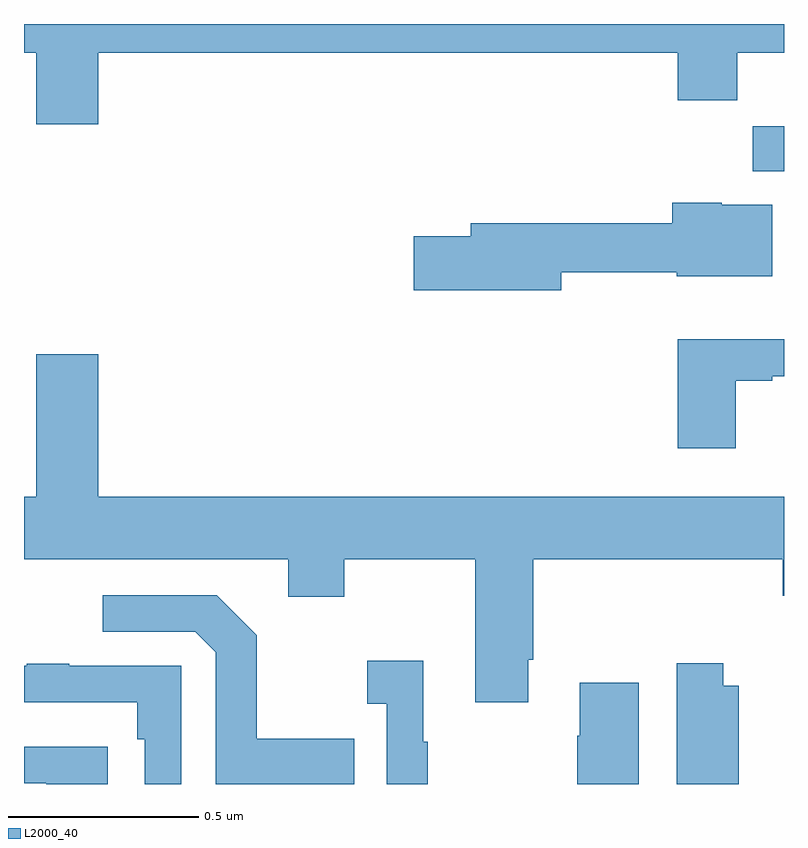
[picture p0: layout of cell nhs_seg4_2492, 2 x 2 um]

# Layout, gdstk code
import gdstk
lib = gdstk.Library(unit=1e-6, precision=1e-09)
def R(c, l, rs):  # rectangles x0, y0, x1, y1
    for r in rs: c.add(gdstk.rectangle(r[:2], r[2:], *l))
def P(c, l, *ps):  # polygons
    for p in ps: c.add(gdstk.Polygon(p, *l))
L2000_40 = (2000, 40)

nhs_seg4_2492 = lib.new_cell('nhs_seg4_2492')
R(nhs_seg4_2492, L2000_40, [(142.918,792.512,143,792.631)])
P(nhs_seg4_2492, L2000_40, [(141.196,792.824),(142.721,792.824),(142.721,792.7),(142.877,792.7),(142.877,792.824),(143,792.824),(143,792.9),(141,792.9),(141,792.824),(141.032,792.824),(141.032,792.636),(141.196,792.636)],
  [(142.414,792.247),(142.718,792.247),(142.718,792.236),(142.969,792.236),(142.969,792.424),(142.836,792.424),(142.836,792.43),(142.706,792.43),(142.706,792.376),(142.175,792.376),(142.175,792.342),(142.026,792.342),(142.026,792.2),(142.414,792.2)],
  [(142.873,791.961),(142.969,791.961),(142.969,791.973),(143,791.973),(143,792.07),(142.721,792.07),(142.721,791.784),(142.873,791.784)],
  [(142.327,791.227),(142.34,791.227),(142.34,791.492),(142.997,791.492),(142.997,791.396),(143,791.396),(143,791.656),(141.196,791.656),(141.196,792.031),(141.032,792.031),(141.032,791.656),(141,791.656),(141,791.492),(141.695,791.492),(141.695,791.393),(141.843,791.393),(141.843,791.492),(142.187,791.492),(142.187,791.115),(142.327,791.115)],
  [(141.869,791.019),(141.613,791.019),(141.613,791.291),(141.507,791.397),(141.207,791.397),(141.207,791.301),(141.45,791.301),(141.504,791.247),(141.504,790.9),(141.869,790.9)],
  [(142.063,791.011),(142.051,791.011),(142.051,791.224),(141.903,791.224),(141.903,791.111),(141.954,791.111),(141.954,790.9),(142.063,790.9)],
  [(142.881,791.158),(142.84,791.158),(142.84,791.218),(142.718,791.218),(142.718,790.9),(142.881,790.9)],
  [(141.414,791.211),(141.119,791.211),(141.119,791.216),(141.007,791.216),(141.007,791.211),(141,791.211),(141,791.115),(141.298,791.115),(141.298,791.018),(141.318,791.018),(141.318,790.9),(141.414,790.9)],
  [(142.618,791.167),(142.463,791.167),(142.463,791.027),(142.456,791.027),(142.456,790.9),(142.618,790.9)],
  [(141.22,790.998),(141,790.998),(141,790.902),(141.059,790.902),(141.059,790.9),(141.22,790.9)])

lib.write_gds('nhs_seg4_2492.gds')
